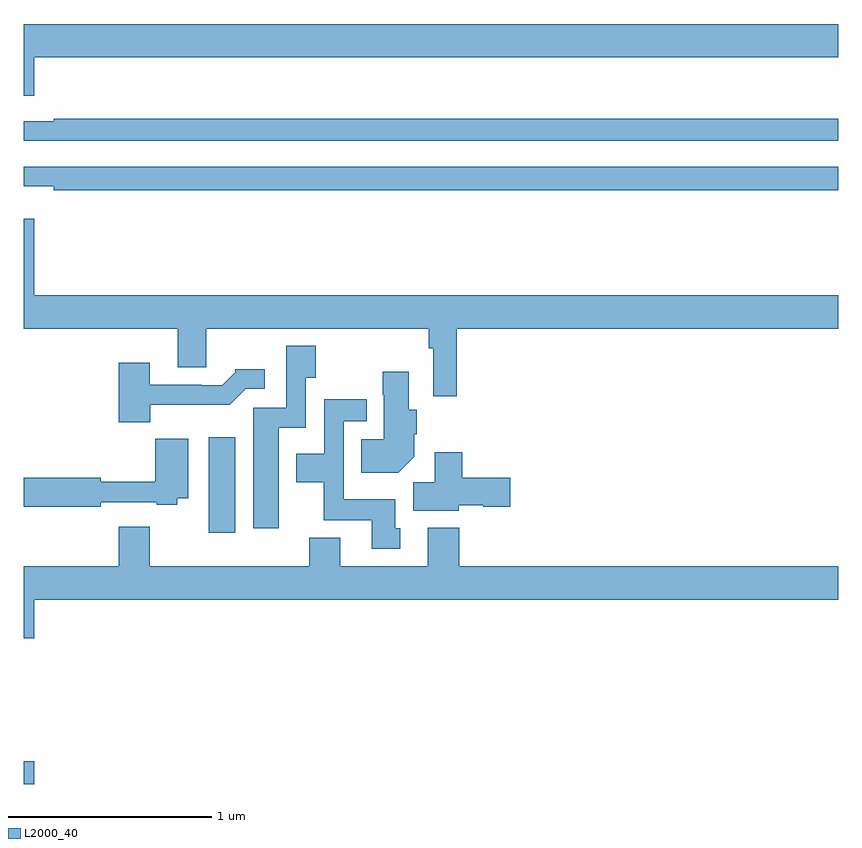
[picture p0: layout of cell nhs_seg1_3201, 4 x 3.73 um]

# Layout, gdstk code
import gdstk
lib = gdstk.Library(unit=1e-6, precision=1e-09)
def R(c, l, rs):  # rectangles x0, y0, x1, y1
    for r in rs: c.add(gdstk.rectangle(r[:2], r[2:], *l))
def P(c, l, *ps):  # polygons
    for p in ps: c.add(gdstk.Polygon(p, *l))
L2000_40 = (2000, 40)

nhs_seg1_3201 = lib.new_cell('nhs_seg1_3201')
R(nhs_seg1_3201, L2000_40, [(285,512.199,285.052,512.311), (285.908,513.432,286.039,513.901)])
P(nhs_seg1_3201, L2000_40, [(285.052,515.768),(289,515.768),(289,515.932),(285,515.932),(285,515.58),(285.052,515.58)],
  [(289,515.467),(285.148,515.467),(285.148,515.454),(285,515.454),(285,515.358),(289,515.358)],
  [(289,515.232),(285,515.232),(285,515.135),(285.148,515.135),(285.148,515.116),(289,515.116)],
  [(287.126,514.436),(289,514.436),(289,514.6),(285.052,514.6),(285.052,514.975),(285,514.975),(285,514.436),(285.755,514.436),(285.755,514.246),(285.895,514.246),(285.895,514.436),(286.99,514.436),(286.99,514.34),(287.01,514.34),(287.01,514.104),(287.126,514.104)],
  [(286.252,513.95),(286.386,513.95),(286.386,514.195),(286.434,514.195),(286.434,514.351),(286.29,514.351),(286.29,514.047),(286.127,514.047),(286.127,513.456),(286.252,513.456)],
  [(285.622,514.062),(286.011,514.062),(286.089,514.14),(286.183,514.14),(286.183,514.237),(286.038,514.237),(286.038,514.222),(285.974,514.158),(285.875,514.158),(285.875,514.161),(285.619,514.161),(285.619,514.267),(285.467,514.267),(285.467,513.977),(285.622,513.977)],
  [(286.918,513.806),(286.918,513.916),(286.931,513.916),(286.931,514.038),(286.891,514.038),(286.891,514.225),(286.762,514.225),(286.762,514.112),(286.769,514.112),(286.769,513.892),(286.657,513.892),(286.657,513.728),(286.84,513.728)],
  [(286.849,513.456),(286.825,513.456),(286.825,513.598),(286.572,513.598),(286.572,513.981),(286.684,513.981),(286.684,514.089),(286.476,514.089),(286.476,513.82),(286.337,513.82),(286.337,513.68),(286.474,513.68),(286.474,513.494),(286.709,513.494),(286.709,513.354),(286.849,513.354)],
  [(285.378,513.582),(285.653,513.582),(285.653,513.57),(285.753,513.57),(285.753,513.602),(285.808,513.602),(285.808,513.895),(285.646,513.895),(285.646,513.683),(285.378,513.683),(285.378,513.704),(285,513.704),(285,513.562),(285.378,513.562)],
  [(287.136,513.569),(287.256,513.569),(287.256,513.562),(287.389,513.562),(287.389,513.704),(287.153,513.704),(287.153,513.829),(287.018,513.829),(287.018,513.68),(286.913,513.68),(286.913,513.542),(287.136,513.542)],
  [(285.052,513.104),(289,513.104),(289,513.268),(287.138,513.268),(287.138,513.457),(286.985,513.457),(286.985,513.268),(286.555,513.268),(286.555,513.409),(286.403,513.409),(286.403,513.268),(285.619,513.268),(285.619,513.463),(285.467,513.463),(285.467,513.268),(285,513.268),(285,512.916),(285.052,512.916)])

lib.write_gds('nhs_seg1_3201.gds')
